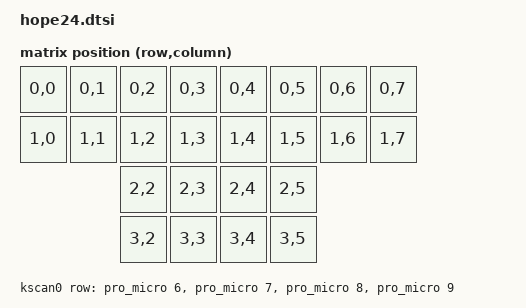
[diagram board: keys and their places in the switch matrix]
#include <dt-bindings/zmk/matrix_transform.h> 

/ {
    default_transform: keymap_transform0 {
        compatible = "zmk,matrix-transform";
        columns = <8>;
        rows = <4>;
        map = <

            RC(0,0) RC(0,1) RC(0,2) RC(0,3)   RC(0,4) RC(0,5) RC(0,6) RC(0,7)

            RC(1,0) RC(1,1) RC(1,2) RC(1,3)   RC(1,4) RC(1,5) RC(1,6) RC(1,7)

                            RC(2,2) RC(2,3)   RC(2,4) RC(2,5)

			                RC(3,2) RC(3,3)   RC(3,4) RC(3,5)
		  
        >;
    };
};

/ {
    kscan0: kscan0 {
        compatible = "zmk,kscan-gpio-matrix";
        diode-direction = "col2row";
        wakeup-source;

        row-gpios
            = <&pro_micro 6 (GPIO_ACTIVE_HIGH | GPIO_PULL_DOWN)>
            , <&pro_micro 7 (GPIO_ACTIVE_HIGH | GPIO_PULL_DOWN)>
            , <&pro_micro 8 (GPIO_ACTIVE_HIGH | GPIO_PULL_DOWN)>
            , <&pro_micro 9 (GPIO_ACTIVE_HIGH | GPIO_PULL_DOWN)>
            ;

    };
};

/ {
    physical_layout0: physical_layout_0 { // First physical layout, use different naming for other layouts
        compatible = "zmk,physical-layout";
        display-name = "Default Layout";
        kscan = <&kscan0>; // Label of the kscan node, optional if all layouts use the same
        transform = <&default_transform>; // Label of the matrix transform for this layout
    };
};

/ {
    chosen {
        zmk,kscan = &kscan0;
        zmk,physical-layout = &physical_layout0;
        // Other chosen items
    };
};
